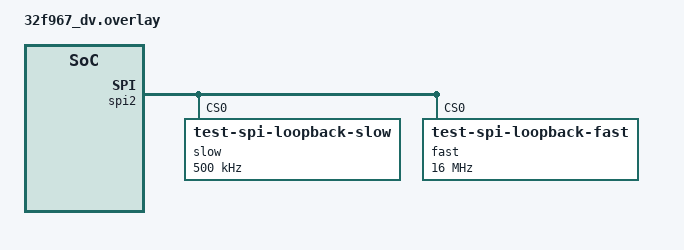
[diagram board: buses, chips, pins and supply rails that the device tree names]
/*
 * SPDX-FileCopyrightText: 2026 ELAN Microelectronics Corp.
 *
 * SPDX-License-Identifier: Apache-2.0
 */

/* Connect PB7 (MOSI) to PB6 (MISO) for external loopback. */
&spi2 {
	slow@0 {
		compatible = "test-spi-loopback-slow";
		reg = <0>;
		spi-max-frequency = <500000>;
	};

	fast@0 {
		compatible = "test-spi-loopback-fast";
		reg = <0>;
		spi-max-frequency = <16000000>;
	};
};
